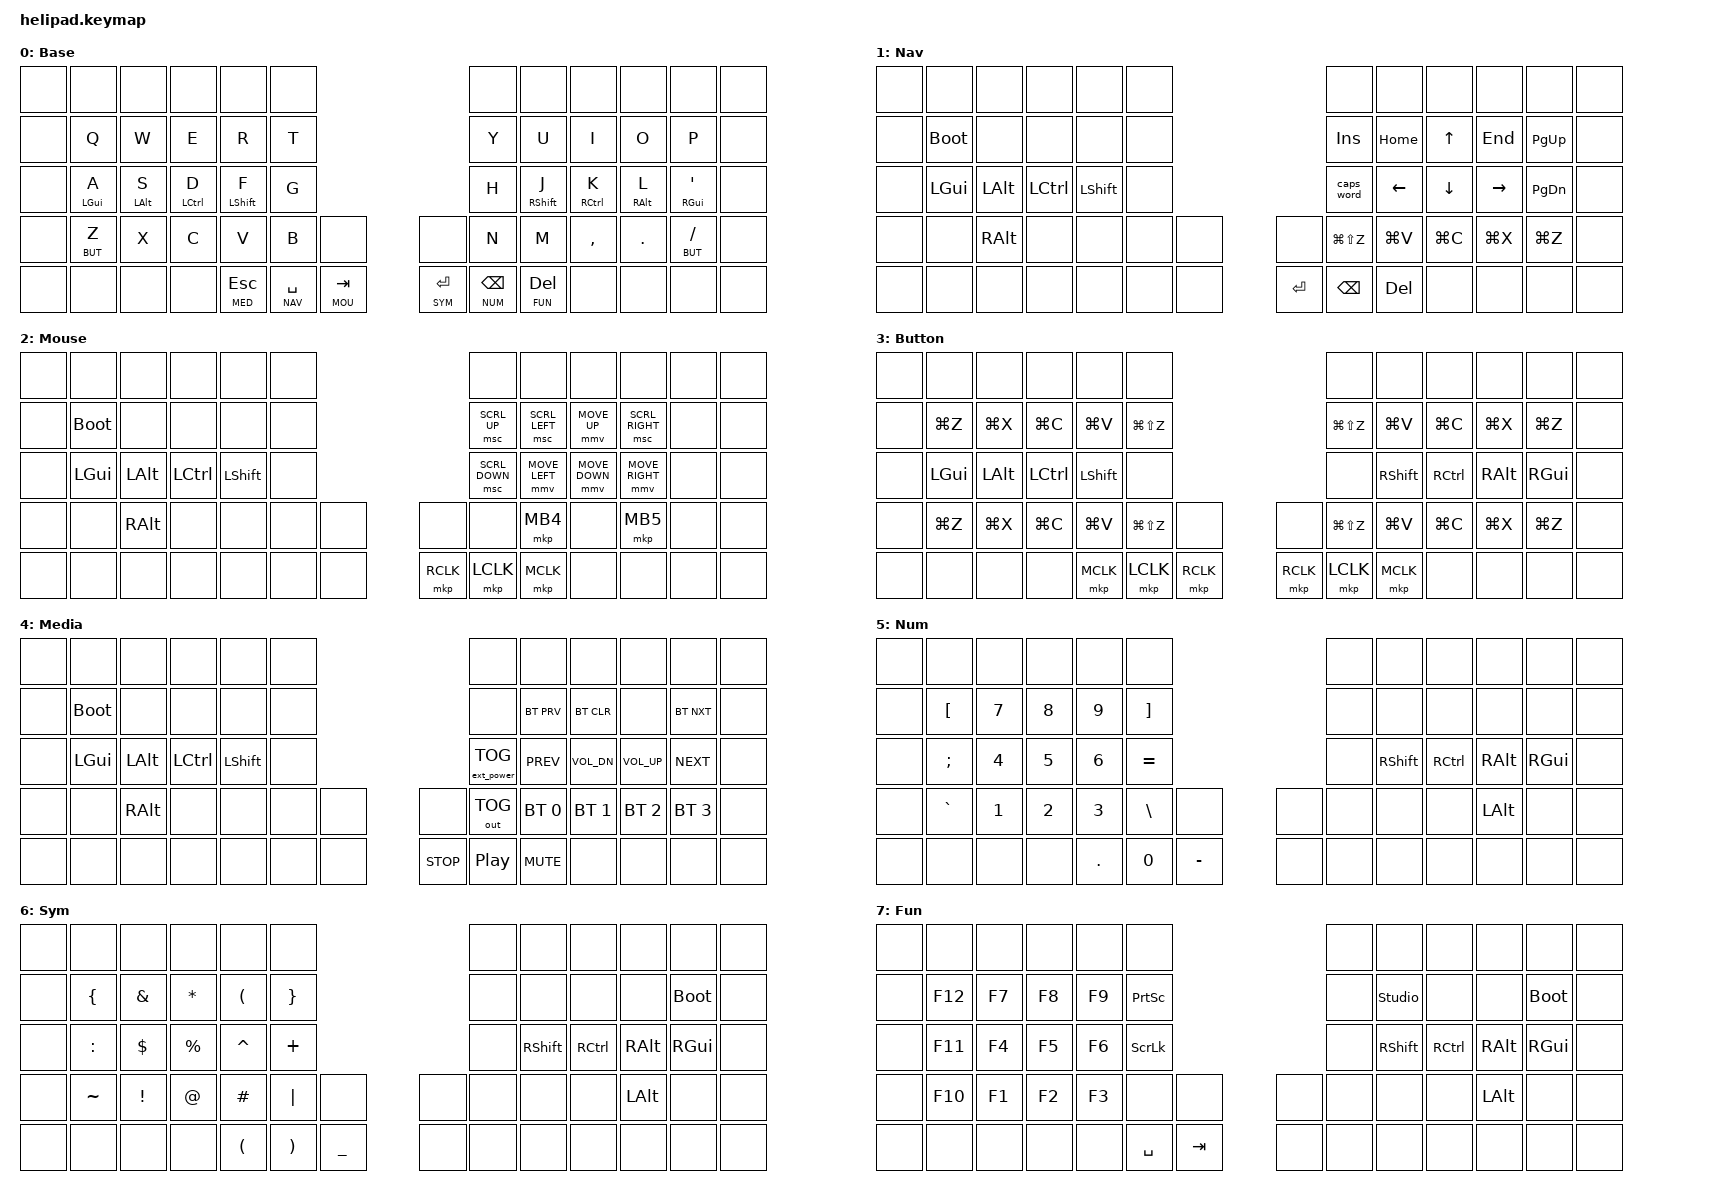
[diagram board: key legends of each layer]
/*
 * Copyright (c) 2020 The ZMK Contributors
 *
 * SPDX-License-Identifier: MIT
 */

#include <behaviors.dtsi>
#include <dt-bindings/zmk/keys.h>
#include <dt-bindings/zmk/bt.h>
#include <dt-bindings/zmk/rgb.h>
#include <dt-bindings/zmk/ext_power.h>
#include <dt-bindings/zmk/outputs.h>
#include <dt-bindings/zmk/pointing.h>
#include "key-labels.h"


#define QUICK_TAP_MS 175

#define BAS 0
#define NAV 1
#define MOU 2
#define BUT 3
#define MED 4
#define NUM 5
#define SYM 6
#define FUN 7

#define Z_BUT   &lt BUT Z
#define SLS_BUT &lt BUT SLASH

#define ESC_MED &lt MED ESC
#define SPA_NAV &lt NAV SPACE
#define TAB_MOU &lt MOU TAB
#define RET_SYM &lt SYM RET
#define BSC_NUM &lt NUM BSPC
#define DEL_FUN &lt FUN DEL

#define _COPY  &kp LG(C)
#define _PASTE &kp LG(V)
#define _CUT   &kp LG(X)
#define _UNDO  &kp LG(Z)
#define _REDO  &kp LG(LS(Z))

#define KEYS_L LN0 LN1 LN2 LN3 LN4 LN5 LT0 LT1 LT2 LT3 LT4 LT5 LM0 LM1 LM2 LM3 LM4 LM5 LB0 LB1 LB2 LB3 LB4 LB5 LB6 LH3 LH4 LH5 LH6   // Left-hand keys.
#define KEYS_R RN0 RN1 RN2 RN3 RN4 RN5 RT0 RT1 RT2 RT3 RT4 RT5 RM0 RM1 RM2 RM3 RM4 RM5 RB0 RB1 RB2 RB3 RB4 RB5 RB6 RH3 RH4 RH5 RH6   // Right-hand keys.
#define THUMBS LH2 LH1 LH0 RH0 RH1 RH2                                                                                               // Thumb keys.

#define MAKE_HRM(NAME, HOLD, TAP, TRIGGER_POS)                                 \
  ZMK_HOLD_TAP(NAME, bindings = <HOLD>, <TAP>; flavor = "balanced";            \
               tapping-term-ms = <280>; quick-tap-ms = <QUICK_TAP_MS>;         \
               require-prior-idle-ms = <150>; hold-trigger-on-release;         \
               hold-trigger-key-positions = <TRIGGER_POS>;)

MAKE_HRM(hml, &kp, &kp, KEYS_R THUMBS) // Left-hand HRMs.
MAKE_HRM(hmr, &kp, &kp, KEYS_L THUMBS) // Right-hand HRMs.

#define HRM_A &hml LEFT_GUI A
#define HRM_S &hml LEFT_ALT S
#define HRM_D &hml LEFT_CONTROL D
#define HRM_F &hml LEFT_SHIFT F

#define HRM_J &hmr RIGHT_SHIFT J
#define HRM_K &hmr RIGHT_CONTROL K
#define HRM_L &hmr RIGHT_ALT L
#define HRM_SQT &hmr RIGHT_GUI SQT

&lt {
  flavor = "balanced";
  tapping-term-ms = <200>;
  quick-tap-ms = <QUICK_TAP_MS>;
};

/ {
       keymap {
              compatible = "zmk,keymap";

              base_layer {
                display-name = "Base";
 // ---------------------------------------------------------------------------------------------------------------------------------
 // |  NONE  |  NONE  |  NONE  |  NONE  |  NONE  |  NONE  |                                      |  NONE  |  NONE  |  NONE  |  NONE  |  NONE  |  NONE  |
 // |  NONE  |   Q    |   W    |   E    |   R    |   T    |                                      |   Y    |   U    |   I    |   O    |   P    |  NONE  |
 // |  NONE  |   A    |   S    |   D    |   F    |   G    |                                      |   H    |   J    |   K    |   L    |   ;    |  NONE  |
 // |  NONE  |   Z    |   X    |   C    |   V    |   B    |  NONE  |                    |  NONE  |   N    |   M    |   ,    |   .    |   /    |  NONE  |
 // |  NONE  |  NONE  |  NONE  |  NONE  |  ESC   | SPACE  |  TAB   |                    | RETURN | BSPC   |  DEL   |  NONE  |  NONE  |  NONE  |  NONE  |
                     bindings = <
       &none  &none  &none  &none  &none    &none                                &none    &none    &none      &none       &none     &none
       &none  &kp Q  &kp W  &kp E  &kp R    &kp T                                &kp Y    &kp U    &kp I      &kp O       &kp P     &none
       &none  HRM_A  HRM_S  HRM_D  HRM_F    &kp G                                &kp H    HRM_J    HRM_K      HRM_L       HRM_SQT   &none
       &none  Z_BUT  &kp X  &kp C  &kp V    &kp B    &none              &none    &kp N    &kp M    &kp COMMA  &kp PERIOD  SLS_BUT   &none
       &none  &none  &none  &none  ESC_MED  SPA_NAV  TAB_MOU            RET_SYM  BSC_NUM  DEL_FUN  &none      &none       &none     &none
                     >;
              };
              nav_layer {
                display-name = "Nav";
 // ---------------------------------------------------------------------------------------------------------------------
 // |      |      |      |       |       |      |                      |      |       |       |       |       |      |
 // |      | BOOT |      |       |       |      |                      | INS  | HOME  |  UP   |  END  | PG_UP |      |
 // |      | LGUI | LALT | LCTRL | LSHFT |      |                      | CAPS | LEFT  | DOWN  | RIGHT | PG_DN |      |
 // |      |      | RALT |       |       |      |      |        |      | REDO | PASTE | COPY  |  CUT  | UNDO  |      |
 // |      |      |      |       |       |      |      |        |  RET | BSPC | DEL   |       |       |       |      |
                     bindings = <
     &none   &none        &none     &none      &none      &none                            &none       &none     &none      &none      &none      &none
     &none   &bootloader  &none     &none      &none      &none                            &kp INS     &kp HOME  &kp UP     &kp END    &kp PG_UP  &none
     &none   &kp LGUI     &kp LALT  &kp LCTRL  &kp LSHFT  &none                            &caps_word  &kp LEFT  &kp DOWN   &kp RIGHT  &kp PG_DN  &none
     &none   &none        &kp RALT  &none      &none      &none   &none           &none    _REDO      _PASTE     _COPY      _CUT       _UNDO      &none
     &none   &none        &none     &none      &none      &none   &none           &kp RET  &kp BSPC    &kp DEL   &none      &none      &none      &none
                     >;
              };
              mouse_layer {
                display-name = "Mouse";
 // ---------------------------------------------------------------------------------------------------------------------
 // |      |      |      |      |      |      |                      |      |      |      |      |      |      |
 // |      |      |      |      |      |      |                      |      |      |      |      |      |      |
 // |      |      |      |      |      |      |                      |      |      |      |      |      |      |
 // |      |      |      |      |      |      |      |        |      |      |      |      |      |      |      |
 // |      |      |      |      |      |      |      |        |      |      |      |      |      |      |      |
                     bindings = <
     &none   &none        &none     &none      &none      &none                              &none           &none           &none           &none            &none            &none
     &none   &bootloader  &none     &none      &none      &none                              &msc SCRL_UP    &msc SCRL_LEFT  &mmv MOVE_UP    &msc SCRL_RIGHT  &none            &none
     &none   &kp LGUI     &kp LALT  &kp LCTRL  &kp LSHFT  &none                              &msc SCRL_DOWN  &mmv MOVE_LEFT  &mmv MOVE_DOWN  &mmv MOVE_RIGHT  &none            &none
     &none   &none        &kp RALT  &none      &none      &none   &none           &none      &none           &mkp MB4        &none           &mkp MB5         &none            &none
     &none   &none        &none     &none      &none      &none   &none           &mkp RCLK  &mkp LCLK       &mkp MCLK       &none           &none            &none            &none
                     >;
              };
              button_layer {
                display-name = "Button";
 // ---------------------------------------------------------------------------------------------------------------------
 // |      |      |      |      |      |      |                      |      |      |      |      |      |      |
 // |      |      |      |      |      |      |                      |      |      |      |      |      |      |
 // |      |      |      |      |      |      |                      |      |      |      |      |      |      |
 // |      |      |      |      |      |      |      |        |      |      |      |      |      |      |      |
 // |      |      |      |      |      |      |      |        |      |      |      |      |      |      |      |
                     bindings = <
     &none   &none        &none     &none      &none      &none                                 &none      &none           &none           &none         &none            &none
     &none   _UNDO        _CUT      _COPY      _PASTE     _REDO                                 _REDO      _PASTE          _COPY           _CUT          _UNDO            &none
     &none   &kp LGUI     &kp LALT  &kp LCTRL  &kp LSHFT  &none                                 &none      &kp RSHFT       &kp RCTRL       &kp RALT      &kp RGUI         &none
     &none   _UNDO        _CUT      _COPY      _PASTE     _REDO      &none           &none      _REDO      _PASTE          _COPY           _CUT          _UNDO            &none
     &none   &none        &none     &none      &mkp MCLK  &mkp LCLK  &mkp RCLK       &mkp RCLK  &mkp LCLK  &mkp MCLK       &none           &none         &none            &none
                     >;
              };
              media_layer {
                display-name = "Media";
 // ---------------------------------------------------------------------------------------------------------------------
 // |      |      |      |      |      |      |                      |      |      |      |      |      |      |
 // |      |      |      |      |      |      |                      |      |      |      |      |      |      |
 // |      |      |      |      |      |      |                      |      |      |      |      |      |      |
 // |      |      |      |      |      |      |      |        |      |      |      |      |      |      |      |
 // |      |      |      |      |      |      |      |        |      |      |      |      |      |      |      |
                     bindings = <
     &none   &none        &none     &none      &none      &none                               &none              &none         &none         &none         &none         &none
     &none   &bootloader  &none     &none      &none      &none                               &none              &bt BT_PRV    &bt BT_CLR    &none         &bt BT_NXT    &none
     &none   &kp LGUI     &kp LALT  &kp LCTRL  &kp LSHFT  &none                               &ext_power EP_TOG  &kp C_PREV    &kp C_VOL_DN  &kp C_VOL_UP  &kp C_NEXT    &none
     &none   &none        &kp RALT  &none      &none      &none   &none           &none       &out OUT_TOG       &bt BT_SEL 0  &bt BT_SEL 1  &bt BT_SEL 2  &bt BT_SEL 3  &none
     &none   &none        &none     &none      &none      &none   &none           &kp C_STOP  &kp C_PP           &kp C_MUTE    &none         &none         &none         &none
                     >;
              };
              num_layer {
                display-name = "Num";
 // ---------------------------------------------------------------------------------------------------------------------
 // |      |      |      |      |      |      |                      |      |      |      |      |      |      |
 // |      |      |      |      |      |      |                      |      |      |      |      |      |      |
 // |      |      |      |      |      |      |                      |      |      |      |      |      |      |
 // |      |      |      |      |      |      |      |        |      |      |      |      |      |      |      |
 // |      |      |      |      |      |      |      |        |      |      |      |      |      |      |      |
                     bindings = <
     &none   &none     &none   &none   &none    &none                              &none   &none      &none      &none     &none     &none
     &none   &kp LBKT  &kp N7  &kp N8  &kp N9   &kp RBKT                           &none   &none      &none      &none     &none     &none
     &none   &kp SEMI  &kp N4  &kp N5  &kp N6   &kp EQUAL                          &none   &kp RSHFT  &kp RCTRL  &kp RALT  &kp RGUI  &none
     &none   &kp GRAVE &kp N1  &kp N2  &kp N3   &kp BSLH   &none           &none   &none   &none      &none      &kp LALT  &none     &none
     &none   &none     &none   &none   &kp DOT  &kp N0     &kp MINUS       &none   &none   &none      &none      &none     &none     &none
                     >;
              };
              sym_layer {
                display-name = "Sym";
 // ---------------------------------------------------------------------------------------------------------------------
 // |      |      |      |      |      |      |                      |      |      |      |      |      |      |
 // |      |      |      |      |      |      |                      |      |      |      |      |      |      |
 // |      |      |      |      |      |      |                      |      |      |      |      |      |      |
 // |      |      |      |      |      |      |      |        |      |      |      |      |      |      |      |
 // |      |      |      |      |      |      |      |        |      |      |      |      |      |      |      |
                     bindings = <
     &none   &none      &none     &none      &none      &none                                &none   &none      &none      &none     &none        &none
     &none   &kp LBRC   &kp AMPS  &kp STAR   &kp LPAR   &kp RBRC                             &none   &none      &none      &none     &bootloader  &none
     &none   &kp COLON  &kp DLLR  &kp PRCNT  &kp CARET  &kp PLUS                             &none   &kp RSHFT  &kp RCTRL  &kp RALT  &kp RGUI     &none
     &none   &kp TILDE  &kp EXCL  &kp AT     &kp POUND  &kp PIPE  &none              &none   &none   &none      &none      &kp LALT  &none        &none
     &none   &none      &none     &none      &kp LPAR   &kp RPAR  &kp UNDER          &none   &none   &none      &none      &none     &none        &none
                     >;
              };
              fun_layer {
                display-name = "Fun";
 // ---------------------------------------------------------------------------------------------------------------------
 // |      |      |      |      |      |      |                      |      |      |      |      |      |      |
 // |      |      |      |      |      |      |                      |      |      |      |      |      |      |
 // |      |      |      |      |      |      |                      |      |      |      |      |      |      |
 // |      |      |      |      |      |      |      |        |      |      |      |      |      |      |      |
 // |      |      |      |      |      |      |      |        |      |      |      |      |      |      |      |
                     bindings = <
     &none   &none    &none   &none   &none   &none                               &none   &none           &none      &none     &none        &none
     &none   &kp F12  &kp F7  &kp F8  &kp F9  &kp PSCRN                           &none   &studio_unlock  &none      &none     &bootloader  &none
     &none   &kp F11  &kp F4  &kp F5  &kp F6  &kp SLCK                            &none   &kp RSHFT       &kp RCTRL  &kp RALT  &kp RGUI     &none
     &none   &kp F10  &kp F1  &kp F2  &kp F3  &none      &none            &none   &none   &none           &none      &kp LALT  &none        &none
     &none   &none    &none   &none   &none   &kp SPACE  &kp TAB          &none   &none   &none           &none      &none     &none        &none
                     >;
              };
       };
    combos {
        compatible = "zmk,combos";
        combo_esc_med {
            timeout-ms = <50>;
            key-positions = <LH0 LH1>;
            bindings = <ESC_MED>;
            layers = <BAS>;
        };
        combo_del_fun {
            timeout-ms = <50>;
            key-positions = <RH0 RH1>;
            bindings = <DEL_FUN>;
            layers = <BAS>;
        };
        combo_del {
            timeout-ms = <50>;
            key-positions = <RH0 RH1>;
            bindings = <&kp DEL>;
            layers = <NAV>;
        };
        combo_left_mclk {
            timeout-ms = <50>;
            key-positions = <LH0 LH1>;
            bindings = <&mkp MCLK>;
            layers = <BUT>;
        };
        combo_right_mclk {
            timeout-ms = <50>;
            key-positions = <RH0 RH1>;
            bindings = <&mkp MCLK>;
            layers = <MOU BUT>;
        };
        combo_mute {
            timeout-ms = <50>;
            key-positions = <RH0 RH1>;
            bindings = <&kp C_MUTE>;
            layers = <MED>;
        };
        combo_dot {
            timeout-ms = <50>;
            key-positions = <LH0 LH1>;
            bindings = <&kp DOT>;
            layers = <NUM>;
        };
        combo_lpar {
            timeout-ms = <50>;
            key-positions = <LH0 LH1>;
            bindings = <&kp LPAR>;
            layers = <SYM>;
        };

    };
};

&nice_view_spi {
    cs-gpios = <&pro_micro 10 GPIO_ACTIVE_HIGH>;
};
